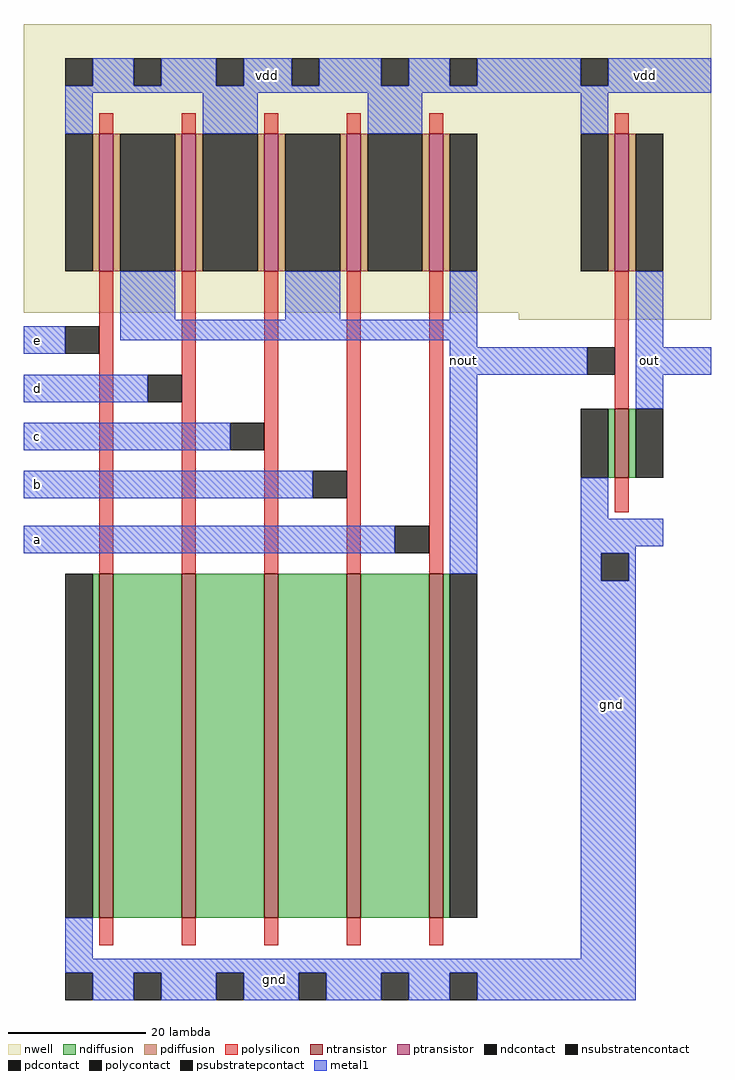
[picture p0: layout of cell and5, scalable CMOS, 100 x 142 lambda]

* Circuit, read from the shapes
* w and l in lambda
.subckt and5 a b c d e gnd nout out vdd
M1 n1 e gnd gnd nfet w=50 l=2
M2 n2 d n1 gnd nfet w=50 l=2
M3 n3 c n2 gnd nfet w=50 l=2
M4 n4 b n3 gnd nfet w=50 l=2
M5 nout a n4 gnd nfet w=50 l=2
M6 out nout gnd gnd nfet w=10 l=2
M7 nout e vdd vdd pfet w=20 l=2
M8 vdd d nout vdd pfet w=20 l=2
M9 nout c vdd vdd pfet w=20 l=2
M10 vdd b nout vdd pfet w=20 l=2
M11 nout a vdd vdd pfet w=20 l=2
M12 out nout vdd vdd pfet w=20 l=2
.ends

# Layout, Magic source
magic
tech scmos
<< nwell >>
rect -33 -13 67 29
rect 39 -14 67 -13
<< ntransistor >>
rect 53 -37 55 -27
rect -22 -101 -20 -51
rect -10 -101 -8 -51
rect 2 -101 4 -51
rect 14 -101 16 -51
rect 26 -101 28 -51
<< ptransistor >>
rect -22 -7 -20 13
rect -10 -7 -8 13
rect 2 -7 4 13
rect 14 -7 16 13
rect 26 -7 28 13
rect 53 -7 55 13
<< ndiffusion >>
rect 52 -37 53 -27
rect 55 -37 56 -27
rect -23 -101 -22 -51
rect -20 -101 -10 -51
rect -8 -101 2 -51
rect 4 -101 14 -51
rect 16 -101 26 -51
rect 28 -101 29 -51
<< pdiffusion >>
rect -23 -7 -22 13
rect -20 -7 -19 13
rect -11 -7 -10 13
rect -8 -7 -7 13
rect 1 -7 2 13
rect 4 -7 5 13
rect 13 -7 14 13
rect 16 -7 17 13
rect 25 -7 26 13
rect 28 -7 29 13
rect 52 -7 53 13
rect 55 -7 56 13
<< ndcontact >>
rect 48 -37 52 -27
rect 56 -37 60 -27
rect -27 -101 -23 -51
rect 29 -101 33 -51
<< pdcontact >>
rect -27 -7 -23 13
rect -19 -7 -11 13
rect -7 -7 1 13
rect 5 -7 13 13
rect 17 -7 25 13
rect 29 -7 33 13
rect 48 -7 52 13
rect 56 -7 60 13
<< psubstratepcontact >>
rect 51 -52 55 -48
rect -27 -113 -23 -109
rect -17 -113 -13 -109
rect -5 -113 -1 -109
rect 7 -113 11 -109
rect 19 -113 23 -109
rect 29 -113 33 -109
<< nsubstratencontact >>
rect -27 20 -23 24
rect -17 20 -13 24
rect -5 20 -1 24
rect 6 20 10 24
rect 19 20 23 24
rect 29 20 33 24
rect 48 20 52 24
<< polysilicon >>
rect -22 13 -20 16
rect -10 13 -8 16
rect 2 13 4 16
rect 14 13 16 16
rect 26 13 28 16
rect 53 13 55 16
rect -22 -51 -20 -7
rect -10 -51 -8 -7
rect 2 -51 4 -7
rect 14 -51 16 -7
rect 26 -51 28 -7
rect 53 -27 55 -7
rect 53 -42 55 -37
rect -22 -105 -20 -101
rect -10 -105 -8 -101
rect 2 -105 4 -101
rect 14 -105 16 -101
rect 26 -105 28 -101
<< polycontact >>
rect -27 -19 -22 -15
rect -15 -26 -10 -22
rect -3 -33 2 -29
rect 9 -40 14 -36
rect 21 -48 26 -44
rect 49 -22 53 -18
<< metal1 >>
rect -23 20 -17 24
rect -13 20 -5 24
rect -1 20 6 24
rect 10 20 19 24
rect 23 20 29 24
rect 33 20 48 24
rect 52 20 67 24
rect -27 19 67 20
rect -27 13 -23 19
rect -7 13 1 19
rect 17 13 25 19
rect 48 13 52 19
rect -19 -14 -11 -7
rect 5 -14 13 -7
rect 29 -14 33 -7
rect -33 -19 -27 -15
rect -19 -17 33 -14
rect 29 -18 33 -17
rect 56 -18 60 -7
rect 29 -22 49 -18
rect 56 -22 67 -18
rect -33 -26 -15 -22
rect -33 -33 -3 -29
rect -33 -40 9 -36
rect -33 -48 21 -44
rect 29 -51 33 -22
rect 56 -27 60 -22
rect 48 -43 52 -37
rect 48 -47 60 -43
rect 48 -48 56 -47
rect 48 -52 51 -48
rect 55 -52 56 -48
rect -27 -107 -23 -101
rect 48 -107 56 -52
rect -27 -109 56 -107
rect -23 -113 -17 -109
rect -13 -113 -5 -109
rect -1 -113 7 -109
rect 11 -113 19 -109
rect 23 -113 29 -109
rect 33 -113 56 -109
<< labels >>
rlabel metal1 -32 -18 -30 -16 3 e
rlabel metal1 -32 -25 -30 -23 3 d
rlabel metal1 -32 -32 -30 -30 3 c
rlabel metal1 -32 -39 -30 -37 3 b
rlabel metal1 -32 -47 -30 -45 3 a
rlabel metal1 0 -113 7 -107 1 gnd
rlabel metal1 49 -73 56 -67 1 gnd
rlabel metal1 56 -22 60 -18 1 out
rlabel metal1 0 19 5 24 1 vdd
rlabel metal1 54 19 61 24 1 vdd
rlabel metal1 29 -22 33 -18 1 nout
<< end >>
